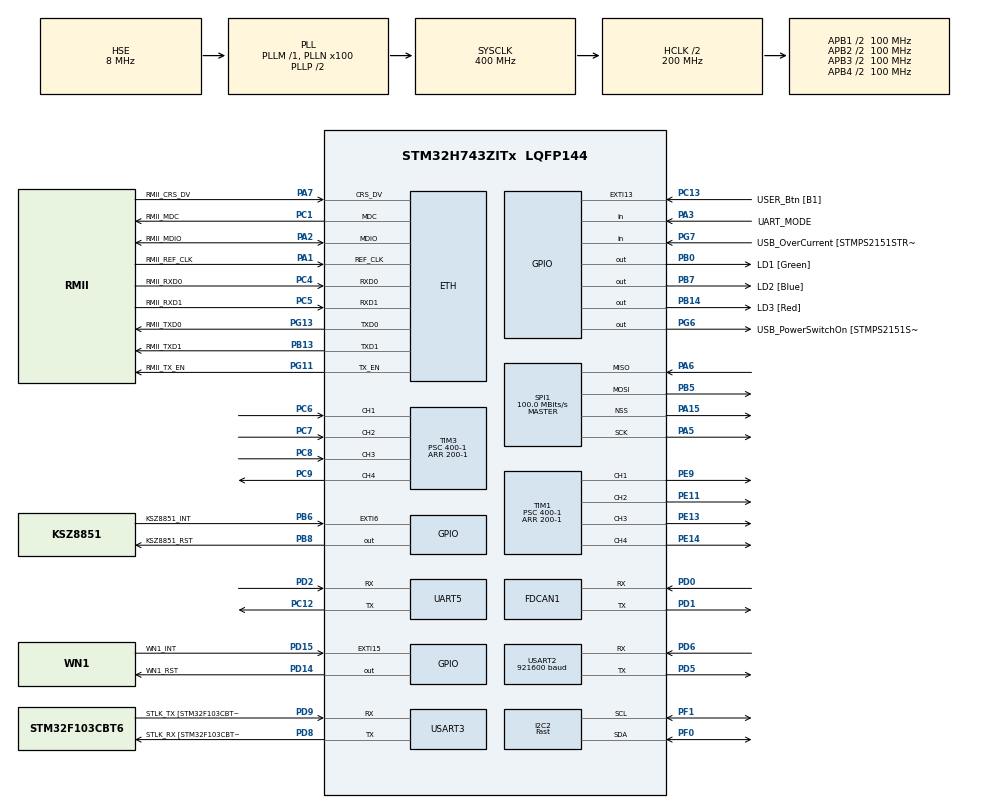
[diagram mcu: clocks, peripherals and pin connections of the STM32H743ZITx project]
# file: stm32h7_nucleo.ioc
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CORTEX_M7.AccessPermission-Cortex_Memory_Protection_Unit_Region0_Settings=MPU_REGION_FULL_ACCESS
CORTEX_M7.AccessPermission-Cortex_Memory_Protection_Unit_Region1_Settings=MPU_REGION_FULL_ACCESS
CORTEX_M7.AccessPermission-Cortex_Memory_Protection_Unit_Region2_Settings=MPU_REGION_FULL_ACCESS
CORTEX_M7.AccessPermission-Cortex_Memory_Protection_Unit_Region3_Settings=MPU_REGION_FULL_ACCESS
CORTEX_M7.AccessPermission-Cortex_Memory_Protection_Unit_Region4_Settings=MPU_REGION_FULL_ACCESS
CORTEX_M7.BaseAddress-Cortex_Memory_Protection_Unit_Region0_Settings=0x30040000
CORTEX_M7.BaseAddress-Cortex_Memory_Protection_Unit_Region1_Settings=0x30044000
CORTEX_M7.BaseAddress-Cortex_Memory_Protection_Unit_Region2_Settings=0x30040000
CORTEX_M7.BaseAddress-Cortex_Memory_Protection_Unit_Region3_Settings=0x24040000
CORTEX_M7.BaseAddress-Cortex_Memory_Protection_Unit_Region4_Settings=0x24040400
CORTEX_M7.CPU_DCache=Enabled
CORTEX_M7.CPU_ICache=Enabled
CORTEX_M7.Enable-Cortex_Memory_Protection_Unit_Region0_Settings=MPU_REGION_ENABLE
CORTEX_M7.Enable-Cortex_Memory_Protection_Unit_Region1_Settings=MPU_REGION_ENABLE
CORTEX_M7.Enable-Cortex_Memory_Protection_Unit_Region2_Settings=MPU_REGION_ENABLE
CORTEX_M7.Enable-Cortex_Memory_Protection_Unit_Region3_Settings=MPU_REGION_ENABLE
CORTEX_M7.Enable-Cortex_Memory_Protection_Unit_Region4_Settings=MPU_REGION_ENABLE
CORTEX_M7.IsBufferable-Cortex_Memory_Protection_Unit_Region0_Settings=MPU_ACCESS_NOT_BUFFERABLE
CORTEX_M7.IsBufferable-Cortex_Memory_Protection_Unit_Region2_Settings=MPU_ACCESS_BUFFERABLE
CORTEX_M7.IsCacheable-Cortex_Memory_Protection_Unit_Region1_Settings=MPU_ACCESS_CACHEABLE
CORTEX_M7.IsCacheable-Cortex_Memory_Protection_Unit_Region4_Settings=MPU_ACCESS_CACHEABLE
CORTEX_M7.IsShareable-Cortex_Memory_Protection_Unit_Region4_Settings=MPU_ACCESS_SHAREABLE
CORTEX_M7.MPU_Control=MPU_PRIVILEGED_DEFAULT
CORTEX_M7.Size-Cortex_Memory_Protection_Unit_Region0_Settings=MPU_REGION_SIZE_16KB
CORTEX_M7.Size-Cortex_Memory_Protection_Unit_Region1_Settings=MPU_REGION_SIZE_16KB
CORTEX_M7.Size-Cortex_Memory_Protection_Unit_Region2_Settings=MPU_REGION_SIZE_256B
CORTEX_M7.Size-Cortex_Memory_Protection_Unit_Region3_Settings=MPU_REGION_SIZE_1KB
CORTEX_M7.Size-Cortex_Memory_Protection_Unit_Region4_Settings=MPU_REGION_SIZE_16KB
CORTEX_M7.TypeExtField-Cortex_Memory_Protection_Unit_Region0_Settings=MPU_TEX_LEVEL1
CORTEX_M7.TypeExtField-Cortex_Memory_Protection_Unit_Region3_Settings=MPU_TEX_LEVEL1
CORTEX_M7.TypeExtField-Cortex_Memory_Protection_Unit_Region4_Settings=MPU_TEX_LEVEL0
Dma.Request0=USART2_RX
Dma.Request1=USART2_TX
Dma.USART2_RX.0.Direction=DMA_PERIPH_TO_MEMORY
Dma.USART2_RX.0.EventEnable=DISABLE
Dma.USART2_RX.0.FIFOMode=DMA_FIFOMODE_DISABLE
Dma.USART2_RX.0.Instance=DMA1_Stream0
Dma.USART2_RX.0.MemDataAlignment=DMA_MDATAALIGN_BYTE
Dma.USART2_RX.0.MemInc=DMA_MINC_ENABLE
Dma.USART2_RX.0.Mode=DMA_CIRCULAR
Dma.USART2_RX.0.PeriphDataAlignment=DMA_PDATAALIGN_BYTE
Dma.USART2_RX.0.PeriphInc=DMA_PINC_DISABLE
Dma.USART2_RX.0.Polarity=HAL_DMAMUX_REQ_GEN_RISING
Dma.USART2_RX.0.Priority=DMA_PRIORITY_VERY_HIGH
Dma.USART2_RX.0.RequestNumber=1
Dma.USART2_RX.0.SignalID=NONE
Dma.USART2_RX.0.SyncEnable=DISABLE
Dma.USART2_RX.0.SyncPolarity=HAL_DMAMUX_SYNC_NO_EVENT
Dma.USART2_RX.0.SyncRequestNumber=1
Dma.USART2_RX.0.SyncSignalID=NONE
Dma.USART2_TX.1.Direction=DMA_MEMORY_TO_PERIPH
Dma.USART2_TX.1.EventEnable=DISABLE
Dma.USART2_TX.1.FIFOMode=DMA_FIFOMODE_DISABLE
Dma.USART2_TX.1.Instance=DMA1_Stream1
Dma.USART2_TX.1.MemDataAlignment=DMA_MDATAALIGN_BYTE
Dma.USART2_TX.1.MemInc=DMA_MINC_ENABLE
Dma.USART2_TX.1.Mode=DMA_NORMAL
Dma.USART2_TX.1.PeriphDataAlignment=DMA_PDATAALIGN_BYTE
Dma.USART2_TX.1.PeriphInc=DMA_PINC_DISABLE
Dma.USART2_TX.1.Polarity=HAL_DMAMUX_REQ_GEN_RISING
Dma.USART2_TX.1.Priority=DMA_PRIORITY_VERY_HIGH
Dma.USART2_TX.1.RequestNumber=1
Dma.USART2_TX.1.SignalID=NONE
Dma.USART2_TX.1.SyncEnable=DISABLE
Dma.USART2_TX.1.SyncPolarity=HAL_DMAMUX_SYNC_NO_EVENT
Dma.USART2_TX.1.SyncRequestNumber=1
Dma.USART2_TX.1.SyncSignalID=NONE
ETH.MediaInterface=HAL_ETH_RMII_MODE
FDCAN1.AutoRetransmission=ENABLE
FDCAN1.DataPrescaler=1
FDCAN1.DataSyncJumpWidth=2
FDCAN1.DataTimeSeg1=7
FDCAN1.DataTimeSeg2=2
FDCAN1.FrameFormat=FDCAN_FRAME_FD_BRS
FDCAN1.Mode=FDCAN_MODE_NORMAL
FDCAN1.NominalPrescaler=1
FDCAN1.NominalSyncJumpWidth=16
FDCAN1.NominalTimeSeg1=63
FDCAN1.NominalTimeSeg2=16
FDCAN1.RxFifo0ElmtSize=FDCAN_DATA_BYTES_64
FDCAN1.RxFifo0ElmtsNbr=1
FDCAN1.RxFifo1ElmtsNbr=0
FDCAN1.StdFiltersNbr=1
FDCAN1.TxElmtSize=FDCAN_DATA_BYTES_64
FDCAN1.TxFifoQueueElmtsNbr=10
FDCAN1.TxFifoQueueMode=FDCAN_TX_FIFO_OPERATION
FREERTOS.BinarySemaphores01=coreTaskSem,Dynamic,NULL;uartTxSem,Dynamic,NULL
FREERTOS.Mutexes01=rosPubMutex,Dynamic,NULL
FREERTOS.Tasks01=coreTask,3,512,coreTaskFunc,As weak,NULL,Dynamic,NULL,NULL;rosSpinTask,0,256,rosSpinTaskFunc,As weak,NULL,Dynamic,NULL,NULL;idleTask,-3,128,idleTaskFunc,As weak,NULL,Dynamic,NULL,NULL;canRx,3,256,canRxTask,As weak,NULL,Dynamic,NULL,NULL;rosPublish,-1,128,rosPublishTask,As weak,NULL,Dynamic,NULL,NULL
FREERTOS.Timers01=coreTaskTimer,coreTaskEvokeCb,osTimerPeriodic,As weak,NULL,Dynamic,NULL
FREERTOS.configMINIMAL_STACK_SIZE=128
FREERTOS.configTIMER_TASK_PRIORITY=6
FREERTOS.configTOTAL_HEAP_SIZE=25600
FREERTOS.configUSE_TIMERS=1
I2C2.I2C_Speed_Mode=I2C_Fast
I2C2.Timing=0x009034B6
LWIP.BSP.number=1
LWIP.ETHARP_SUPPORT_STATIC_ENTRIES=0
LWIP.GATEWAY_ADDRESS=192.168.025.253
LWIP.IP_ADDRESS=192.168.025.238
LWIP.LWIP_ARP=1
LWIP.LWIP_DHCP=0
LWIP.LWIP_NETIF_LINK_CALLBACK=0
LWIP.NETMASK_ADDRESS=255.255.255.000
LWIP.Version=v2.1.2_Cube
LWIP0.BSP.STBoard=false
LWIP0.BSP.api=BSP_COMPONENT_DRIVER
LWIP0.BSP.component=LAN8742
LWIP0.BSP.i2caddr=0
LWIP0.BSP.instance=LAN8742
LWIP0.BSP.name=Driver_PHY
LWIP0.BSP.solution=LAN8742
Mcu.Family=STM32H7
Mcu.Name=STM32H743ZITx
Mcu.Package=LQFP144
NVIC.DMA1_Stream1_IRQn=true\:5\:0\:false\:true\:true\:5\:true\:true\:true
NVIC.ETH_IRQn=true\:5\:0\:false\:true\:true\:1\:true\:true\:true
NVIC.ETH_WKUP_IRQn=true\:5\:0\:false\:true\:true\:2\:true\:true\:true
NVIC.FDCAN1_IT0_IRQn=true\:5\:0\:false\:true\:true\:3\:true\:true\:true
NVIC.PriorityGroup=NVIC_PRIORITYGROUP_4
NVIC.TIM8_BRK_TIM12_IRQn=true\:0\:0\:false\:false\:true\:false\:false\:true
NVIC.TimeBase=TIM8_BRK_TIM12_IRQn
NVIC.TimeBaseIP=TIM12
NVIC.USART2_IRQn=true\:5\:0\:false\:true\:true\:4\:true\:true\:true
PA1.GPIO_Label=RMII_REF_CLK
PA1.GPIO_Speed=GPIO_SPEED_FREQ_VERY_HIGH
PA1.Mode=RMII
PA1.Signal=ETH_REF_CLK
PA10.GPIO_Label=USB_ID
PA10.Signal=USB_OTG_FS_ID
PA11.GPIO_Label=USB_DM
PA11.GPIO_Speed=GPIO_SPEED_FREQ_VERY_HIGH
PA11.Signal=USB_OTG_FS_DM
PA12.GPIO_Label=USB_DP
PA12.GPIO_Speed=GPIO_SPEED_FREQ_VERY_HIGH
PA12.Signal=USB_OTG_FS_DP
PA13\ (JTMS/SWDIO).Mode=Serial_Wire
PA13\ (JTMS/SWDIO).Signal=DEBUG_JTMS-SWDIO
PA14\ (JTCK/SWCLK).Mode=Serial_Wire
PA14\ (JTCK/SWCLK).Signal=DEBUG_JTCK-SWCLK
PA15\ (JTDI).GPIO_Speed=GPIO_SPEED_FREQ_VERY_HIGH
PA15\ (JTDI).Mode=NSS_Signal_Hard_Output
PA15\ (JTDI).Signal=SPI1_NSS
PA2.GPIO_Label=RMII_MDIO
PA2.GPIO_Speed=GPIO_SPEED_FREQ_VERY_HIGH
PA2.Mode=RMII
PA2.Signal=ETH_MDIO
PA3.GPIO_Label=UART_MODE
PA3.GPIO_PuPd=GPIO_PULLDOWN
PA3.Signal=GPIO_Input
PA5.GPIO_Speed=GPIO_SPEED_FREQ_VERY_HIGH
PA5.Mode=Full_Duplex_Master
PA5.Signal=SPI1_SCK
PA6.GPIO_Speed=GPIO_SPEED_FREQ_VERY_HIGH
PA6.Mode=Full_Duplex_Master
PA6.Signal=SPI1_MISO
PA7.GPIO_Label=RMII_CRS_DV
PA7.GPIO_Speed=GPIO_SPEED_FREQ_VERY_HIGH
PA7.Mode=RMII
PA7.Signal=ETH_CRS_DV
PA8.GPIO_Label=USB_SOF [TP1]
PA8.GPIO_Speed=GPIO_SPEED_FREQ_VERY_HIGH
PA8.Signal=USB_OTG_FS_SOF
PA9.GPIO_Label=USB_VBUS
PA9.Signal=USB_OTG_FS_VBUS
PB0.GPIO_Label=LD1 [Green]
PB0.GPIO_Speed=GPIO_SPEED_FREQ_LOW
PB0.Signal=GPIO_Output
PB10.GPIO_Speed=GPIO_SPEED_FREQ_VERY_HIGH
PB10.Signal=SPI2_SCK
PB13.GPIO_Label=RMII_TXD1
PB13.GPIO_Speed=GPIO_SPEED_FREQ_VERY_HIGH
PB13.Mode=RMII
PB13.Signal=ETH_TXD1
PB14.GPIO_Label=LD3 [Red]
PB14.Signal=GPIO_Output
PB15.GPIO_Speed=GPIO_SPEED_FREQ_VERY_HIGH
PB15.Signal=SPI2_MOSI
PB5.GPIO_Speed=GPIO_SPEED_FREQ_VERY_HIGH
PB5.Mode=Full_Duplex_Master
PB5.Signal=SPI1_MOSI
PB6.GPIO_Label=KSZ8851_INT
PB6.Signal=GPXTI6
PB7.GPIO_Label=LD2 [Blue]
PB7.Signal=GPIO_Output
PB8.GPIO_Label=KSZ8851_RST
PB8.PinState=GPIO_PIN_SET
PB8.Signal=GPIO_Output
PB9.GPIO_Speed=GPIO_SPEED_FREQ_VERY_HIGH
PB9.Signal=SPI2_NSS
PC0.Signal=ADCx_INP10
PC1.GPIO_Label=RMII_MDC
PC1.Mode=RMII
PC1.Signal=ETH_MDC
PC12.GPIO_Speed=GPIO_SPEED_FREQ_HIGH
PC12.Mode=Asynchronous
PC12.Signal=UART5_TX
PC13.GPIO_Label=USER_Btn [B1]
PC13.Signal=GPXTI13
PC14-OSC32_IN\ (OSC32_IN).Mode=LSE-External-Oscillator
PC14-OSC32_IN\ (OSC32_IN).Signal=RCC_OSC32_IN
PC15-OSC32_OUT\ (OSC32_OUT).Mode=LSE-External-Oscillator
PC15-OSC32_OUT\ (OSC32_OUT).Signal=RCC_OSC32_OUT
PC2_C.GPIO_Speed=GPIO_SPEED_FREQ_VERY_HIGH
PC2_C.Signal=SPI2_MISO
PC4.GPIO_Label=RMII_RXD0
PC4.GPIO_Speed=GPIO_SPEED_FREQ_VERY_HIGH
PC4.Mode=RMII
PC4.Signal=ETH_RXD0
PC5.GPIO_Label=RMII_RXD1
PC5.GPIO_Speed=GPIO_SPEED_FREQ_VERY_HIGH
PC5.Mode=RMII
PC5.Signal=ETH_RXD1
PC6.Signal=S_TIM3_CH1
PC7.Signal=S_TIM3_CH2
PC8.Signal=S_TIM3_CH3
PC9.Signal=S_TIM3_CH4
PD0.GPIO_Speed=GPIO_SPEED_FREQ_VERY_HIGH
PD0.Mode=FDCAN_Activate
PD0.Signal=FDCAN1_RX
PD1.GPIO_Speed=GPIO_SPEED_FREQ_VERY_HIGH
PD1.Mode=FDCAN_Activate
PD1.Signal=FDCAN1_TX
PD12.GPIO_Speed=GPIO_SPEED_FREQ_HIGH
PD12.Signal=I2C4_SCL
PD13.GPIO_Speed=GPIO_SPEED_FREQ_HIGH
PD13.Signal=I2C4_SDA
PD14.GPIO_Label=WN1_RST
PD14.PinState=GPIO_PIN_SET
PD14.Signal=GPIO_Output
PD15.GPIO_Label=WN1_INT
PD15.GPIO_PuPd=GPIO_PULLUP
PD15.Signal=GPXTI15
PD2.GPIO_Speed=GPIO_SPEED_FREQ_HIGH
PD2.Mode=Asynchronous
PD2.Signal=UART5_RX
PD5.Mode=Asynchronous
PD5.Signal=USART2_TX
PD6.Mode=Asynchronous
PD6.Signal=USART2_RX
PD8.GPIO_Label=STLK_RX [STM32F103CBT6_PA3]
PD8.GPIO_Speed=GPIO_SPEED_FREQ_HIGH
PD8.Mode=Asynchronous
PD8.Signal=USART3_TX
PD9.GPIO_Label=STLK_TX [STM32F103CBT6_PA2]
PD9.GPIO_Speed=GPIO_SPEED_FREQ_HIGH
PD9.Mode=Asynchronous
PD9.Signal=USART3_RX
PE11.Signal=S_TIM1_CH2
PE13.Signal=S_TIM1_CH3
PE14.Signal=S_TIM1_CH4
PE2.GPIO_Speed=GPIO_SPEED_FREQ_VERY_HIGH
PE2.Signal=SPI4_SCK
PE4.GPIO_Speed=GPIO_SPEED_FREQ_VERY_HIGH
PE4.Signal=SPI4_NSS
PE5.GPIO_Speed=GPIO_SPEED_FREQ_VERY_HIGH
PE5.Signal=SPI4_MISO
PE6.GPIO_Speed=GPIO_SPEED_FREQ_VERY_HIGH
PE6.Signal=SPI4_MOSI
PE9.Signal=S_TIM1_CH1
PF0.GPIO_Speed=GPIO_SPEED_FREQ_HIGH
PF0.Mode=I2C
PF0.Signal=I2C2_SDA
PF1.GPIO_Speed=GPIO_SPEED_FREQ_HIGH
PF1.Mode=I2C
PF1.Signal=I2C2_SCL
PG11.GPIO_Label=RMII_TX_EN
PG11.GPIO_Speed=GPIO_SPEED_FREQ_VERY_HIGH
PG11.Mode=RMII
PG11.Signal=ETH_TX_EN
PG13.GPIO_Label=RMII_TXD0
PG13.GPIO_Speed=GPIO_SPEED_FREQ_VERY_HIGH
PG13.Mode=RMII
PG13.Signal=ETH_TXD0
PG6.GPIO_Label=USB_PowerSwitchOn [STMPS2151STR_EN]
PG6.Signal=GPIO_Output
PG7.GPIO_Label=USB_OverCurrent [STMPS2151STR_FAULT]
PG7.Signal=GPIO_Input
PH0-OSC_IN\ (PH0).GPIO_Label=MCO
PH0-OSC_IN\ (PH0).Mode=HSE-External-Clock-Source
PH0-OSC_IN\ (PH0).Signal=RCC_OSC_IN
PH1-OSC_OUT\ (PH1).Signal=RCC_OSC_OUT
ProjectManager.HeapSize=0x2000
ProjectManager.StackSize=0x4000
ProjectManager.TargetToolchain=STM32CubeIDE
RCC.48MHZClocksFreq_Value=24000000
RCC.ADCFreq_Value=400000000
RCC.AHBFreq_Value=216000000
RCC.APB1CLKDivider=RCC_HCLK_DIV4
RCC.APB1Freq_Value=100000000
RCC.APB1TimFreq_Value=108000000
RCC.APB2CLKDivider=RCC_HCLK_DIV2
RCC.APB2Freq_Value=100000000
RCC.APB2TimFreq_Value=216000000
RCC.APB3Freq_Value=100000000
RCC.APB4Freq_Value=100000000
RCC.CortexFreq_Value=400000000
RCC.D1PPRE=RCC_APB3_DIV2
RCC.D2PPRE1=RCC_APB1_DIV2
RCC.D2PPRE2=RCC_APB2_DIV2
RCC.D3PPRE=RCC_APB4_DIV2
RCC.DIVM1=1
RCC.DIVM2=1
RCC.DIVM3=1
RCC.DIVN1=100
RCC.DIVN2=100
RCC.DIVN3=100
RCC.DIVQ1=4
RCC.DIVQ2=10
RCC.FDCANCLockSelection=RCC_FDCANCLKSOURCE_PLL2
RCC.HCLKFreq_Value=200000000
RCC.HPRE=RCC_HCLK_DIV2
RCC.HSE_VALUE=8000000
RCC.HSI_VALUE=64000000
RCC.PLLM=25
RCC.PLLMUL=RCC_PLL_MUL9
RCC.PLLN=432
RCC.PLLQ=9
RCC.PLLSourceVirtual=RCC_PLLSOURCE_HSE
RCC.PRESCALERUSB=RCC_USBCLKSOURCE_PLL_DIV1_5
RCC.PWR_Regulator_Voltage_Scale=PWR_REGULATOR_VOLTAGE_SCALE1
RCC.SYSCLKFreq_VALUE=400000000
RCC.SYSCLKSource=RCC_SYSCLKSOURCE_PLLCLK
RCC.SYSCLKSourceVirtual=RCC_SYSCLKSOURCE_PLLCLK
RCC.USBCLockSelection=RCC_USBCLKSOURCE_HSI48
RCC.USBFreq_Value=48000000
RCC.VCOOutputFreq_Value=432000000
RTC.Format=RTC_FORMAT_BIN
RTC.Year=19
SH.ADCx_INP10.0=ADC1_INP10
SH.S_TIM1_CH1.0=TIM1_CH1,Output Compare1 CH1
SH.S_TIM1_CH2.0=TIM1_CH2,Output Compare2 CH2
SH.S_TIM1_CH3.0=TIM1_CH3,Output Compare3 CH3
SH.S_TIM1_CH4.0=TIM1_CH4,Output Compare4 CH4
SH.S_TIM3_CH1.0=TIM3_CH1,Xored_Inputs_Hall_Sensor_Interface
SH.S_TIM3_CH2.0=TIM3_CH2,Xored_Inputs_Hall_Sensor_Interface
SH.S_TIM3_CH3.0=TIM3_CH3,Xored_Inputs_Hall_Sensor_Interface
SH.S_TIM3_CH4.0=TIM3_CH4,Output Compare4 CH4
SPI1.CalculateBaudRate=100.0 MBits/s
SPI1.DataSize=SPI_DATASIZE_8BIT
SPI1.Direction=SPI_DIRECTION_2LINES
SPI1.Mode=SPI_MODE_MASTER
SPI1.VirtualNSS=VM_NSSHARD
SPI1.VirtualType=VM_MASTER
TIM1.Channel-Output\ Compare1\ CH1=TIM_CHANNEL_1
TIM1.Channel-Output\ Compare2\ CH2=TIM_CHANNEL_2
TIM1.Channel-Output\ Compare3\ CH3=TIM_CHANNEL_3
TIM1.Channel-Output\ Compare4\ CH4=TIM_CHANNEL_4
TIM1.Period=200-1
TIM1.Prescaler=400-1
TIM1.Pulse-Output\ Compare1\ CH1=200-1
TIM1.Pulse-Output\ Compare2\ CH2=200-1
TIM1.Pulse-Output\ Compare3\ CH3=200-1
TIM1.Pulse-Output\ Compare4\ CH4=200-1
TIM3.Channel-Output\ Compare4\ CH4=TIM_CHANNEL_4
TIM3.Period=200-1
TIM3.Prescaler=400-1
USART2.BaudRate=921600
USART2.VirtualMode-Asynchronous=VM_ASYNC
USART3.VirtualMode-Asynchronous=VM_ASYNC
VP_FREERTOS_VS_CMSIS_V1.Mode=CMSIS_V1
VP_LWIP_VS_Enabled.Mode=Enabled
VP_RNG_VS_RNG.Mode=RNG_Activate
VP_RTC_VS_RTC_Activate.Mode=RTC_Enabled
VP_RTC_VS_RTC_Calendar.Mode=RTC_Calendar
VP_SYS_VS_tim12.Mode=TIM12
VP_TIM1_VS_ClockSourceINT.Mode=Internal
VP_TIM3_VS_ClockSourceINT.Mode=Internal
board=NUCLEO-H743ZI

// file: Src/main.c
/* USER CODE BEGIN Header */
/**
  ******************************************************************************
  * @file           : main.c
  * @brief          : Main program body
  ******************************************************************************
  * This notice applies to any and all portions of this file
  * that are not between comment pairs USER CODE BEGIN and
  * USER CODE END. Other portions of this file, whether
  * inserted by the user or by software development tools
  * are owned by their respective copyright owners.
  *
  * Copyright (c) 2021 STMicroelectronics International N.V.
  * All rights reserved.
  *
  * Redistribution and use in source and binary forms, with or without
  * modification, are permitted, provided that the following conditions are met:
  *
  * 1. Redistribution of source code must retain the above copyright notice,
  *    this list of conditions and the following disclaimer.
  * 2. Redistributions in binary form must reproduce the above copyright notice,
  *    this list of conditions and the following disclaimer in the documentation
  *    and/or other materials provided with the distribution.
  * 3. Neither the name of STMicroelectronics nor the names of other
  *    contributors to this software may be used to endorse or promote products
  *    derived from this software without specific written permission.
  * 4. This software, including modifications and/or derivative works of this
  *    software, must execute solely and exclusively on microcontroller or
  *    microprocessor devices manufactured by or for STMicroelectronics.
  * 5. Redistribution and use of this software other than as permitted under
  *    this license is void and will automatically terminate your rights under
  *    this license.
  *
  * THIS SOFTWARE IS PROVIDED BY STMICROELECTRONICS AND CONTRIBUTORS "AS IS"
  * AND ANY EXPRESS, IMPLIED OR STATUTORY WARRANTIES, INCLUDING, BUT NOT
  * LIMITED TO, THE IMPLIED WARRANTIES OF MERCHANTABILITY, FITNESS FOR A
  * PARTICULAR PURPOSE AND NON-INFRINGEMENT OF THIRD PARTY INTELLECTUAL PROPERTY
  * RIGHTS ARE DISCLAIMED TO THE FULLEST EXTENT PERMITTED BY LAW. IN NO EVENT
  * SHALL STMICROELECTRONICS OR CONTRIBUTORS BE LIABLE FOR ANY DIRECT, INDIRECT,
  * INCIDENTAL, SPECIAL, EXEMPLARY, OR CONSEQUENTIAL DAMAGES (INCLUDING, BUT NOT
  * LIMITED TO, PROCUREMENT OF SUBSTITUTE GOODS OR SERVICES; LOSS OF USE, DATA,
  * OR PROFITS; OR BUSINESS INTERRUPTION) HOWEVER CAUSED AND ON ANY THEORY OF
  * LIABILITY, WHETHER IN CONTRACT, STRICT LIABILITY, OR TORT (INCLUDING
  * NEGLIGENCE OR OTHERWISE) ARISING IN ANY WAY OUT OF THE USE OF THIS SOFTWARE,
  * EVEN IF ADVISED OF THE POSSIBILITY OF SUCH DAMAGE.
  *
  ******************************************************************************
  */
/* USER CODE END Header */
#include "main.h"
#include "cmsis_os.h"
#include "dma.h"
#include "fdcan.h"
#include "i2c.h"
#include "lwip.h"
#include "rng.h"
#include "rtc.h"
#include "spi.h"
#include "tim.h"
#include "usart.h"
#include "gpio.h"

/* USER CODE BEGIN Includes */
#include "lwip/udp.h" /* can not find udp API from lwip.h, why */
#include "tcp_echoserver.h"
#include "udp_echoserver.h"
#include "app_ethernet.h"

#include <cstring>
#include <string>
#include <ros.h>
#include <std_msgs/String.h>
#include <std_msgs/Empty.h>
#include <spinal/ServoControlCmd.h>
#include <spinal/Imu.h>

/* Internal Communication System */
#include <flashmemory/flashmemory.h>
#include <Spine/spine.h>
#include <CANDevice/test/canfd_test.h>

/* USER CODE END Includes */

/* USER CODE BEGIN PV */
StateEstimate estimator_;

uint32_t msTick = 0;
uint32_t msTickPrevious = 0;

bool start_processing_flag_ = false; //to prevent systick_callback starting  beforeinit() processes
ros::NodeHandle nh_;

std_msgs::String test_msg_;
spinal::Imu imu_msg_;
ros::Publisher test_pub_("/imu", &imu_msg_);
ros::Publisher test_pub2_("/test_pub1", &test_msg_);
ros::Publisher test_pub3_("/test_pub2", &test_msg_);
void testCallback(const std_msgs::Empty& msg);
ros::Subscriber<std_msgs::Empty> test_sub_("/test_sub", &testCallback);
void test2Callback(const spinal::ServoControlCmd& msg);
ros::Subscriber<spinal::ServoControlCmd> test2_sub_("/target_servo_sub", &test2Callback);

uint32_t servo_msg_cnt = 0;
uint32_t max_cnt_diff = 0;
uint32_t servo_msg_recv_t = 0;
uint32_t servo_msg_echo_t = 0;
uint32_t max_du = 0;
uint32_t min_du = 1e6;

CANFDTest canfd_test_;
bool canfd_test_mode_ = false;
bool canfd_send_tx_ = false;
bool uart_mode_ = false;

extern osSemaphoreId coreTaskSemHandle;
extern osMailQId canMsgMailHandle;
extern osMutexId rosPubMutexHandle;
extern osSemaphoreId uartTxSemHandle;

extern ETH_HandleTypeDef heth;

extern "C"
{
/* USER CODE END PV */

void SystemClock_Config(void);
static void MPU_Config(void);
void MX_FREERTOS_Init(void);
static void MX_NVIC_Init(void);
}

/* USER CODE BEGIN 0 */

void testCallback(const std_msgs::Empty& msg)
{
  test_msg_.data = std::string("sub echo ok").c_str();
  test_pub2_.publish(&test_msg_);
}

void test2Callback(const spinal::ServoControlCmd& msg)
{
  uint32_t cnt = (uint32_t)msg.index[0] + ((uint32_t)msg.index[1] << 8) + ((uint32_t)msg.index[2] << 16) + ((uint32_t)msg.index[3] << 24);

  if( abs((int32_t)servo_msg_cnt - (int32_t)cnt) > 100) // 100 topics
    {
      // reset
      servo_msg_recv_t = 0;
      servo_msg_echo_t = 0;
      servo_msg_cnt = cnt;

      max_du = 0;
      min_du = 1e6;

      max_cnt_diff = 0;
    }

  if(servo_msg_recv_t == 0)
    {
      servo_msg_recv_t = HAL_GetTick();
      servo_msg_echo_t = HAL_GetTick();
    }
  else
    {
      uint32_t du = HAL_GetTick() - servo_msg_recv_t;
      if(max_du < du) max_du = du;
      if(min_du > du) min_du = du;

      uint32_t cnt_diff = cnt - servo_msg_cnt;
      if(max_cnt_diff < cnt_diff) max_cnt_diff = cnt_diff;

      if (HAL_GetTick() - servo_msg_echo_t > 1000) // 1000 ms
        {
          char buffer[50];
          sprintf (buffer, "%d, %d, %d, %d, %d", du, max_du, min_du, cnt_diff, max_cnt_diff);
          nh_.logerror(buffer);
          servo_msg_echo_t = HAL_GetTick();
        }
      servo_msg_recv_t = HAL_GetTick();
      servo_msg_cnt= cnt;
    }
}

extern "C"
{
  // timer callback to evoke coreTask at 1KHz
  void coreTaskEvokeCb(void const * argument)
  {
    osSemaphoreRelease (coreTaskSemHandle);
  }

  // main subrutine for update enach instance
  void coreTaskFunc(void const * argument)
  {
    MX_LWIP_Init();

    /* ros node init */
    if(uart_mode_)
      {
        nh_.initNode(&huart2, &rosPubMutexHandle, &uartTxSemHandle);
        //nh_.initNode(&huart2, &rosPubMutexHandle, NULL); // no DMA for TX
      }
    else
      {
        ip4_addr_t dst_addr;
        IP4_ADDR(&dst_addr,192,168,25,100);
        nh_.initNode(dst_addr, 12345,12345);
      }

    nh_.advertise(test_pub_);
    nh_.advertise(test_pub2_);
    nh_.advertise(test_pub3_);
    nh_.subscribe(test_sub_);
    nh_.subscribe(test2_sub_);

    osSemaphoreWait(coreTaskSemHandle, osWaitForever);

    int imu_pub_interval = 0;
    if (uart_mode_) imu_pub_interval = 5;
    uint32_t imu_pub_t = HAL_GetTick();
    uint32_t can_test_t = HAL_GetTick();

    for(;;)
      {
        osSemaphoreWait(coreTaskSemHandle, osWaitForever);

        if (!canfd_test_mode_) Spine::send();
        if (HAL_GetTick() - imu_pub_t >= imu_pub_interval)
          {
            imu_msg_.stamp = nh_.now();
            test_pub_.publish(&imu_msg_);
            imu_pub_t = HAL_GetTick();
          }
        if (!canfd_test_mode_) Spine::update();

        if (canfd_test_mode_)
          {
            CANDeviceManager::tick(1);
            if (HAL_GetTick() - can_test_t > 100) // 10ms
              {
                if (canfd_send_tx_)
                  canfd_test_.sendData();
                can_test_t = HAL_GetTick();
              }
          }

        // Workaround to handle the BUSY->TIMEOUT Error problem of ETH handler in STM32H7
        // We observe this is occasionally occur, but the ETH DMA is valid.
        if (heth.ErrorCode & HAL_ETH_ERROR_TIMEOUT)
          {
            // force to restart ETH transmit
            heth.gState = HAL_ETH_STATE_READY;
            ETH_TxDescListTypeDef *dmatxdesclist = &(heth.TxDescList);
            for (uint32_t i = 0; i < (uint32_t)ETH_TX_DESC_CNT; i++)
              {
                ETH_DMADescTypeDef *dmatxdesc = (ETH_DMADescTypeDef *)dmatxdesclist->TxDesc[i];
                CLEAR_BIT(dmatxdesc->DESC3, ETH_DMATXNDESCRF_OWN);
              }
          }
      }
  }

  void rosSpinTaskFunc(void const * argument)
  {
    for(;;)
      {
        /* ros spin means to get data from UART RX ring buffer and to call callback functions  */
        if(nh_.spinOnce() == ros::SPIN_UNAVAILABLE)
          {
            /* if no data in ring buffer, we kindly sleep for 1ms */
            osDelay(1);
          }
      }
  }

  void rosPublishTask(void const * argument)
  {
    for(;;)
      {
        /* publish one message from ring buffer */
        if(nh_.publish() == BUFFER_EMPTY)
          {
            /* if no messages in ring buffer, we kindly sleep for 1ms */
            osDelay(1);
          }
      }
  }

  void idleTaskFunc(void const * argument)
  {
    for(;;)
      {
        if(HAL_GPIO_ReadPin(USER_Btn_GPIO_Port, USER_Btn_Pin) == GPIO_PIN_SET)
          {
            canfd_send_tx_ = true;
          }

        if (canfd_test_mode_) HAL_GPIO_TogglePin(LD2_GPIO_Port, LD2_Pin);
        osDelay(1000);
      }
  }
}

/* USER CODE END 0 */

int main(void)
{

  /* MPU Configuration--------------------------------------------------------*/
  MPU_Config();

  /* Enable I-Cache---------------------------------------------------------*/
  SCB_EnableICache();

  /* Enable D-Cache---------------------------------------------------------*/
  SCB_EnableDCache();

  /* MCU Configuration--------------------------------------------------------*/

  /* Reset of all peripherals, Initializes the Flash interface and the Systick. */
  HAL_Init();

  /* Configure the system clock */
  SystemClock_Config();

  /* Initialize all configured peripherals */
  MX_GPIO_Init();
  MX_DMA_Init();
  MX_USART3_UART_Init();
  MX_RNG_Init();
  MX_SPI1_Init();
  MX_I2C2_Init();
  MX_TIM1_Init();
  MX_TIM3_Init();
  MX_UART5_Init();
  MX_RTC_Init();
  MX_FDCAN1_Init();
  MX_USART2_UART_Init();

  /* Initialize interrupts */
  MX_NVIC_Init();
  /* USER CODE BEGIN 2 */

 /* Flash Memory */
  FlashMemory::init(0x081E0000, FLASH_SECTOR_7);
  // Bank2, Sector7: 0x081E 0000 (128KB); https://www.stmcu.jp/download/?dlid=51599_jp
  // BANK1 (with Sector7) cuases the flash failure by STLink from the second time. So we use BANK_2, which is tested OK

  // It semms like the first 64 byte of flashmemory for data is easily to be overwritten by zero, when re-flash the flash memory.
  // A possible reason is the power supply from stlink does not contain 3.3V output.
  // which is the only difference compared with the old version (STM32F7)
  // So, we introduce following dummy data for a workaround to avoid the vanishment of stored data in flash memory.
  uint8_t dummy_data[64];
  memset(dummy_data, 1, 64);
  FlashMemory::addValue(dummy_data, 64);

  /* switch between ETH/UART rosserial */
  if(HAL_GPIO_ReadPin(UART_MODE_GPIO_Port, UART_MODE_Pin) == GPIO_PIN_SET)
    {
      uart_mode_ = true;
    }

  /* switch CAN/CANFD test mode */
  if(HAL_GPIO_ReadPin(USER_Btn_GPIO_Port, USER_Btn_Pin) == GPIO_PIN_SET)
    {
      canfd_test_mode_ = true;
      HAL_GPIO_WritePin(LD2_GPIO_Port, LD2_Pin, GPIO_PIN_SET);

      while (1)
        {
          if(HAL_GPIO_ReadPin(USER_Btn_GPIO_Port, USER_Btn_Pin) == GPIO_PIN_RESET)
            {
              HAL_GPIO_WritePin(LD2_GPIO_Port, LD2_Pin, GPIO_PIN_RESET);
              break;
            }

          HAL_Delay(100);
        }
    }

  /* NERVE */
  /* TODO: should be called in coreTask, but we have to replace all the HAL_Delay() to os Delay() */
  if(!canfd_test_mode_)
    {
      Spine::init(&hfdcan1, &nh_, &estimator_, LD1_GPIO_Port, LD1_Pin);
      Spine::useRTOS(&canMsgMailHandle); // use RTOS for CAN in spianl
    }
  else
    {
      CANDeviceManager::init(&hfdcan1, LD1_GPIO_Port, LD1_Pin);
      CANDeviceManager::useRTOS(&canMsgMailHandle);
      CANDeviceManager::addDevice(canfd_test_);
      CANDeviceManager::CAN_START();
    }

  /* USER CODE END 2 */

  /* Call init function for freertos objects (in freertos.c) */
  MX_FREERTOS_Init();
  /* Start scheduler */
  osKernelStart();

  /* We should never get here as control is now taken by the scheduler */
  /* Infinite loop */
  while (1)
  {

  }
}

void SystemClock_Config(void)
{
  RCC_OscInitTypeDef RCC_OscInitStruct = {0};
  RCC_ClkInitTypeDef RCC_ClkInitStruct = {0};
  RCC_PeriphCLKInitTypeDef PeriphClkInitStruct = {0};

  /** Supply configuration update enable
  */
  HAL_PWREx_ConfigSupply(PWR_LDO_SUPPLY);
  /** Configure the main internal regulator output voltage
  */
  __HAL_PWR_VOLTAGESCALING_CONFIG(PWR_REGULATOR_VOLTAGE_SCALE1);

  while(!__HAL_PWR_GET_FLAG(PWR_FLAG_VOSRDY)) {}
  /** Macro to configure the PLL clock source
  */
  __HAL_RCC_PLL_PLLSOURCE_CONFIG(RCC_PLLSOURCE_HSE);
  /** Initializes the RCC Oscillators according to the specified parameters
  * in the RCC_OscInitTypeDef structure.
  */
  RCC_OscInitStruct.OscillatorType = RCC_OSCILLATORTYPE_HSI48|RCC_OSCILLATORTYPE_LSI
                              |RCC_OSCILLATORTYPE_HSE;
  RCC_OscInitStruct.HSEState = RCC_HSE_BYPASS;
  RCC_OscInitStruct.LSIState = RCC_LSI_ON;
  RCC_OscInitStruct.HSI48State = RCC_HSI48_ON;
  RCC_OscInitStruct.PLL.PLLState = RCC_PLL_ON;
  RCC_OscInitStruct.PLL.PLLSource = RCC_PLLSOURCE_HSE;
  RCC_OscInitStruct.PLL.PLLM = 1;
  RCC_OscInitStruct.PLL.PLLN = 100;
  RCC_OscInitStruct.PLL.PLLP = 2;
  RCC_OscInitStruct.PLL.PLLQ = 4;
  RCC_OscInitStruct.PLL.PLLR = 2;
  RCC_OscInitStruct.PLL.PLLRGE = RCC_PLL1VCIRANGE_3;
  RCC_OscInitStruct.PLL.PLLVCOSEL = RCC_PLL1VCOWIDE;
  RCC_OscInitStruct.PLL.PLLFRACN = 0;
  if (HAL_RCC_OscConfig(&RCC_OscInitStruct) != HAL_OK)
  {
    Error_Handler();
  }
  /** Initializes the CPU, AHB and APB buses clocks
  */
  RCC_ClkInitStruct.ClockType = RCC_CLOCKTYPE_HCLK|RCC_CLOCKTYPE_SYSCLK
                              |RCC_CLOCKTYPE_PCLK1|RCC_CLOCKTYPE_PCLK2
                              |RCC_CLOCKTYPE_D3PCLK1|RCC_CLOCKTYPE_D1PCLK1;
  RCC_ClkInitStruct.SYSCLKSource = RCC_SYSCLKSOURCE_PLLCLK;
  RCC_ClkInitStruct.SYSCLKDivider = RCC_SYSCLK_DIV1;
  RCC_ClkInitStruct.AHBCLKDivider = RCC_HCLK_DIV2;
  RCC_ClkInitStruct.APB3CLKDivider = RCC_APB3_DIV2;
  RCC_ClkInitStruct.APB1CLKDivider = RCC_APB1_DIV2;
  RCC_ClkInitStruct.APB2CLKDivider = RCC_APB2_DIV2;
  RCC_ClkInitStruct.APB4CLKDivider = RCC_APB4_DIV2;

  if (HAL_RCC_ClockConfig(&RCC_ClkInitStruct, FLASH_LATENCY_2) != HAL_OK)
  {
    Error_Handler();
  }
  PeriphClkInitStruct.PeriphClockSelection = RCC_PERIPHCLK_RTC|RCC_PERIPHCLK_USART3
                              |RCC_PERIPHCLK_USART2|RCC_PERIPHCLK_FDCAN
                              |RCC_PERIPHCLK_UART5|RCC_PERIPHCLK_RNG
                              |RCC_PERIPHCLK_SPI1|RCC_PERIPHCLK_I2C2;
  PeriphClkInitStruct.PLL2.PLL2M = 1;
  PeriphClkInitStruct.PLL2.PLL2N = 100;
  PeriphClkInitStruct.PLL2.PLL2P = 2;
  PeriphClkInitStruct.PLL2.PLL2Q = 10;
  PeriphClkInitStruct.PLL2.PLL2R = 2;
  PeriphClkInitStruct.PLL2.PLL2RGE = RCC_PLL2VCIRANGE_3;
  PeriphClkInitStruct.PLL2.PLL2VCOSEL = RCC_PLL2VCOWIDE;
  PeriphClkInitStruct.PLL2.PLL2FRACN = 0;
  PeriphClkInitStruct.Spi123ClockSelection = RCC_SPI123CLKSOURCE_PLL;
  PeriphClkInitStruct.FdcanClockSelection = RCC_FDCANCLKSOURCE_PLL2;
  PeriphClkInitStruct.Usart234578ClockSelection = RCC_USART234578CLKSOURCE_D2PCLK1;
  PeriphClkInitStruct.RngClockSelection = RCC_RNGCLKSOURCE_HSI48;
  PeriphClkInitStruct.I2c123ClockSelection = RCC_I2C123CLKSOURCE_D2PCLK1;
  PeriphClkInitStruct.RTCClockSelection = RCC_RTCCLKSOURCE_LSI;
  if (HAL_RCCEx_PeriphCLKConfig(&PeriphClkInitStruct) != HAL_OK)
  {
    Error_Handler();
  }
}

/**
  * @brief NVIC Configuration.
  * @retval None
  */
static void MX_NVIC_Init(void)
{
  /* ETH_IRQn interrupt configuration */
  HAL_NVIC_SetPriority(ETH_IRQn, 5, 0);
  HAL_NVIC_EnableIRQ(ETH_IRQn);
  /* ETH_WKUP_IRQn interrupt configuration */
  HAL_NVIC_SetPriority(ETH_WKUP_IRQn, 5, 0);
  HAL_NVIC_EnableIRQ(ETH_WKUP_IRQn);
  /* FDCAN1_IT0_IRQn interrupt configuration */
  HAL_NVIC_SetPriority(FDCAN1_IT0_IRQn, 5, 0);
  HAL_NVIC_EnableIRQ(FDCAN1_IT0_IRQn);
  /* USART2_IRQn interrupt configuration */
  HAL_NVIC_SetPriority(USART2_IRQn, 5, 0);
  HAL_NVIC_EnableIRQ(USART2_IRQn);
  /* DMA1_Stream1_IRQn interrupt configuration */
  HAL_NVIC_SetPriority(DMA1_Stream1_IRQn, 5, 0);
  HAL_NVIC_EnableIRQ(DMA1_Stream1_IRQn);
}

/* MPU Configuration */

void MPU_Config(void)
{
  MPU_Region_InitTypeDef MPU_InitStruct = {0};

  /* Disables the MPU */
  HAL_MPU_Disable();
  /** Initializes and configures the Region and the memory to be protected
  */
  MPU_InitStruct.Enable = MPU_REGION_ENABLE;
  MPU_InitStruct.Number = MPU_REGION_NUMBER0;
  MPU_InitStruct.BaseAddress = 0x30040000;
  MPU_InitStruct.Size = MPU_REGION_SIZE_16KB;
  MPU_InitStruct.SubRegionDisable = 0x0;
  MPU_InitStruct.TypeExtField = MPU_TEX_LEVEL1;
  MPU_InitStruct.AccessPermission = MPU_REGION_FULL_ACCESS;
  MPU_InitStruct.DisableExec = MPU_INSTRUCTION_ACCESS_ENABLE;
  MPU_InitStruct.IsShareable = MPU_ACCESS_NOT_SHAREABLE;
  MPU_InitStruct.IsCacheable = MPU_ACCESS_NOT_CACHEABLE;
  MPU_InitStruct.IsBufferable = MPU_ACCESS_NOT_BUFFERABLE;

  HAL_MPU_ConfigRegion(&MPU_InitStruct);
  /** Initializes and configures the Region and the memory to be protected
  */
  MPU_InitStruct.Enable = MPU_REGION_ENABLE;
  MPU_InitStruct.Number = MPU_REGION_NUMBER1;
  MPU_InitStruct.BaseAddress = 0x30044000;
  MPU_InitStruct.Size = MPU_REGION_SIZE_16KB;
  MPU_InitStruct.SubRegionDisable = 0x0;
  MPU_InitStruct.TypeExtField = MPU_TEX_LEVEL0;
  MPU_InitStruct.AccessPermission = MPU_REGION_FULL_ACCESS;
  MPU_InitStruct.DisableExec = MPU_INSTRUCTION_ACCESS_ENABLE;
  MPU_InitStruct.IsShareable = MPU_ACCESS_NOT_SHAREABLE;
  MPU_InitStruct.IsCacheable = MPU_ACCESS_CACHEABLE;
  MPU_InitStruct.IsBufferable = MPU_ACCESS_NOT_BUFFERABLE;

  HAL_MPU_ConfigRegion(&MPU_InitStruct);
  /** Initializes and configures the Region and the memory to be protected
  */
  MPU_InitStruct.Enable = MPU_REGION_ENABLE;
  MPU_InitStruct.Number = MPU_REGION_NUMBER2;
  MPU_InitStruct.BaseAddress = 0x30040000;
  MPU_InitStruct.Size = MPU_REGION_SIZE_256B;
  MPU_InitStruct.SubRegionDisable = 0x0;
  MPU_InitStruct.TypeExtField = MPU_TEX_LEVEL0;
  MPU_InitStruct.AccessPermission = MPU_REGION_FULL_ACCESS;
  MPU_InitStruct.DisableExec = MPU_INSTRUCTION_ACCESS_ENABLE;
  MPU_InitStruct.IsShareable = MPU_ACCESS_NOT_SHAREABLE;
  MPU_InitStruct.IsCacheable = MPU_ACCESS_NOT_CACHEABLE;
  MPU_InitStruct.IsBufferable = MPU_ACCESS_BUFFERABLE;

  HAL_MPU_ConfigRegion(&MPU_InitStruct);
  /** Initializes and configures the Region and the memory to be protected
  */
  MPU_InitStruct.Enable = MPU_REGION_ENABLE;
  MPU_InitStruct.Number = MPU_REGION_NUMBER3;
  MPU_InitStruct.BaseAddress = 0x24040000;
  MPU_InitStruct.Size = MPU_REGION_SIZE_1KB;
  MPU_InitStruct.SubRegionDisable = 0x0;
  MPU_InitStruct.TypeExtField = MPU_TEX_LEVEL1;
  MPU_InitStruct.AccessPermission = MPU_REGION_FULL_ACCESS;
  MPU_InitStruct.DisableExec = MPU_INSTRUCTION_ACCESS_ENABLE;
  MPU_InitStruct.IsShareable = MPU_ACCESS_NOT_SHAREABLE;
  MPU_InitStruct.IsCacheable = MPU_ACCESS_NOT_CACHEABLE;
  MPU_InitStruct.IsBufferable = MPU_ACCESS_NOT_BUFFERABLE;

  HAL_MPU_ConfigRegion(&MPU_InitStruct);
  /** Initializes and configures the Region and the memory to be protected
  */
  MPU_InitStruct.Enable = MPU_REGION_ENABLE;
  MPU_InitStruct.Number = MPU_REGION_NUMBER4;
  MPU_InitStruct.BaseAddress = 0x24040400;
  MPU_InitStruct.Size = MPU_REGION_SIZE_16KB;
  MPU_InitStruct.SubRegionDisable = 0x0;
  MPU_InitStruct.TypeExtField = MPU_TEX_LEVEL0;
  MPU_InitStruct.AccessPermission = MPU_REGION_FULL_ACCESS;
  MPU_InitStruct.DisableExec = MPU_INSTRUCTION_ACCESS_ENABLE;
  MPU_InitStruct.IsShareable = MPU_ACCESS_SHAREABLE;
  MPU_InitStruct.IsCacheable = MPU_ACCESS_CACHEABLE;
  MPU_InitStruct.IsBufferable = MPU_ACCESS_NOT_BUFFERABLE;

  HAL_MPU_ConfigRegion(&MPU_InitStruct);
  /* Enables the MPU */
  HAL_MPU_Enable(MPU_PRIVILEGED_DEFAULT);

}
void HAL_TIM_PeriodElapsedCallback(TIM_HandleTypeDef *htim)
{
  if (htim->Instance == TIM12) {
    HAL_IncTick();
  }
}

void Error_Handler(void)
{
}

/************************ (C) COPYRIGHT STMicroelectronics *****END OF FILE****/

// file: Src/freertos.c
/* USER CODE BEGIN Header */
/**
  ******************************************************************************
  * File Name          : freertos.c
  * Description        : Code for freertos applications
  ******************************************************************************
  * @attention
  *
  * <h2><center>&copy; Copyright (c) 2021 STMicroelectronics.
  * All rights reserved.</center></h2>
  *
  * This software component is licensed by ST under Ultimate Liberty license
  * SLA0044, the "License"; You may not use this file except in compliance with
  * the License. You may obtain a copy of the License at:
  *                             www.st.com/SLA0044
  *
  ******************************************************************************
  */
/* USER CODE END Header */

#include "FreeRTOS.h"
#include "task.h"
#include "main.h"
#include "cmsis_os.h"

/* USER CODE BEGIN PTD */
typedef struct // same type defined in can_device_manager.h whcih has C++ description thus cannot loaded in this C file
{
  FDCAN_RxHeaderTypeDef rx_header;
  uint8_t rx_data[64];
} can_msg;

/* USER CODE END PTD */

/* USER CODE BEGIN Variables */
osMailQId canMsgMailHandle;
/* USER CODE END Variables */
osThreadId coreTaskHandle;
osThreadId rosSpinTaskHandle;
osThreadId idleTaskHandle;
osThreadId canRxHandle;
osThreadId rosPublishHandle;
osTimerId coreTaskTimerHandle;
osMutexId rosPubMutexHandle;
osSemaphoreId coreTaskSemHandle;

void coreTaskFunc(void const * argument);
void rosSpinTaskFunc(void const * argument);
void idleTaskFunc(void const * argument);
void canRxTask(void const * argument);
void rosPublishTask(void const * argument);
void coreTaskEvokeCb(void const * argument);

extern void MX_LWIP_Init(void);
void MX_FREERTOS_Init(void); /* (MISRA C 2004 rule 8.1) */

/* GetIdleTaskMemory prototype (linked to static allocation support) */
void vApplicationGetIdleTaskMemory( StaticTask_t **ppxIdleTaskTCBBuffer, StackType_t **ppxIdleTaskStackBuffer, uint32_t *pulIdleTaskStackSize );

/* GetTimerTaskMemory prototype (linked to static allocation support) */
void vApplicationGetTimerTaskMemory( StaticTask_t **ppxTimerTaskTCBBuffer, StackType_t **ppxTimerTaskStackBuffer, uint32_t *pulTimerTaskStackSize );

/* USER CODE BEGIN GET_IDLE_TASK_MEMORY */
static StaticTask_t xIdleTaskTCBBuffer;
static StackType_t xIdleStack[configMINIMAL_STACK_SIZE];

void vApplicationGetIdleTaskMemory( StaticTask_t **ppxIdleTaskTCBBuffer, StackType_t **ppxIdleTaskStackBuffer, uint32_t *pulIdleTaskStackSize )
{
  *ppxIdleTaskTCBBuffer = &xIdleTaskTCBBuffer;
  *ppxIdleTaskStackBuffer = &xIdleStack[0];
  *pulIdleTaskStackSize = configMINIMAL_STACK_SIZE;
  /* place for user code */
}
/* USER CODE END GET_IDLE_TASK_MEMORY */

/* USER CODE BEGIN GET_TIMER_TASK_MEMORY */
static StaticTask_t xTimerTaskTCBBuffer;
static StackType_t xTimerStack[configTIMER_TASK_STACK_DEPTH];

void vApplicationGetTimerTaskMemory( StaticTask_t **ppxTimerTaskTCBBuffer, StackType_t **ppxTimerTaskStackBuffer, uint32_t *pulTimerTaskStackSize )
{
  *ppxTimerTaskTCBBuffer = &xTimerTaskTCBBuffer;
  *ppxTimerTaskStackBuffer = &xTimerStack[0];
  *pulTimerTaskStackSize = configTIMER_TASK_STACK_DEPTH;
  /* place for user code */
}
/* USER CODE END GET_TIMER_TASK_MEMORY */

void MX_FREERTOS_Init(void) {
  /* Create the mutex(es) */
  /* definition and creation of rosPubMutex */
  osMutexDef(rosPubMutex);
  rosPubMutexHandle = osMutexCreate(osMutex(rosPubMutex));

  /* Create the semaphores(s) */
  /* definition and creation of coreTaskSem */
  osSemaphoreDef(coreTaskSem);
  coreTaskSemHandle = osSemaphoreCreate(osSemaphore(coreTaskSem), 1);

  /* Create the timer(s) */
  /* definition and creation of coreTaskTimer */
  osTimerDef(coreTaskTimer, coreTaskEvokeCb);
  coreTaskTimerHandle = osTimerCreate(osTimer(coreTaskTimer), osTimerPeriodic, NULL);

  /* USER CODE BEGIN RTOS_TIMERS */
  /* start timers, add new ones, ... */
  osTimerStart(coreTaskTimerHandle, 1); // 1 ms (1kHz)

  /* USER CODE END RTOS_TIMERS */

  /* USER CODE BEGIN RTOS_QUEUES */
  /* add queues, ... */
  /* add mail queue for CAN RX */
  osMailQDef(CanMail, 10, can_msg); // defualt: 20 for 8 data bytes (in case of initializer sendBoardConfig (4 servo: 1 + 4 x 3 = 13 packets)); 10 for 64 data bytes
  canMsgMailHandle = osMailCreate(osMailQ(CanMail), NULL);
  /* USER CODE END RTOS_QUEUES */

  /* Create the thread(s) */
  /* definition and creation of coreTask */
  osThreadDef(coreTask, coreTaskFunc, osPriorityRealtime, 0, 512);
  coreTaskHandle = osThreadCreate(osThread(coreTask), NULL);

  /* definition and creation of rosSpinTask */
  osThreadDef(rosSpinTask, rosSpinTaskFunc, osPriorityNormal, 0, 256);
  rosSpinTaskHandle = osThreadCreate(osThread(rosSpinTask), NULL);

  /* definition and creation of idleTask */
  osThreadDef(idleTask, idleTaskFunc, osPriorityIdle, 0, 128);
  idleTaskHandle = osThreadCreate(osThread(idleTask), NULL);

  /* definition and creation of canRx */
  osThreadDef(canRx, canRxTask, osPriorityRealtime, 0, 256);
  canRxHandle = osThreadCreate(osThread(canRx), NULL);

  /* definition and creation of rosPublish */
  osThreadDef(rosPublish, rosPublishTask, osPriorityBelowNormal, 0, 128);
  rosPublishHandle = osThreadCreate(osThread(rosPublish), NULL);

}

__weak void coreTaskFunc(void const * argument)
{
  /* init code for LWIP */
  MX_LWIP_Init();
  for(;;)
  {
    osDelay(1);
  }
}

__weak void rosSpinTaskFunc(void const * argument)
{
  for(;;)
  {
    osDelay(1);
  }
}

__weak void idleTaskFunc(void const * argument)
{
  /* USER CODE BEGIN idleTaskFunc */
  /* Infinite loop */
  for(;;)
  {
    HAL_GPIO_TogglePin(LD2_GPIO_Port, LD2_Pin);
    osDelay(1000);
  }
  /* USER CODE END idleTaskFunc */
}

__weak void canRxTask(void const * argument)
{
  for(;;)
  {
    osDelay(1);
  }
}

__weak void rosPublishTask(void const * argument)
{
  for(;;)
  {
    osDelay(1);
  }
}

/* coreTaskEvokeCb function */
__weak void coreTaskEvokeCb(void const * argument)
{
}

/************************ (C) COPYRIGHT STMicroelectronics *****END OF FILE****/
